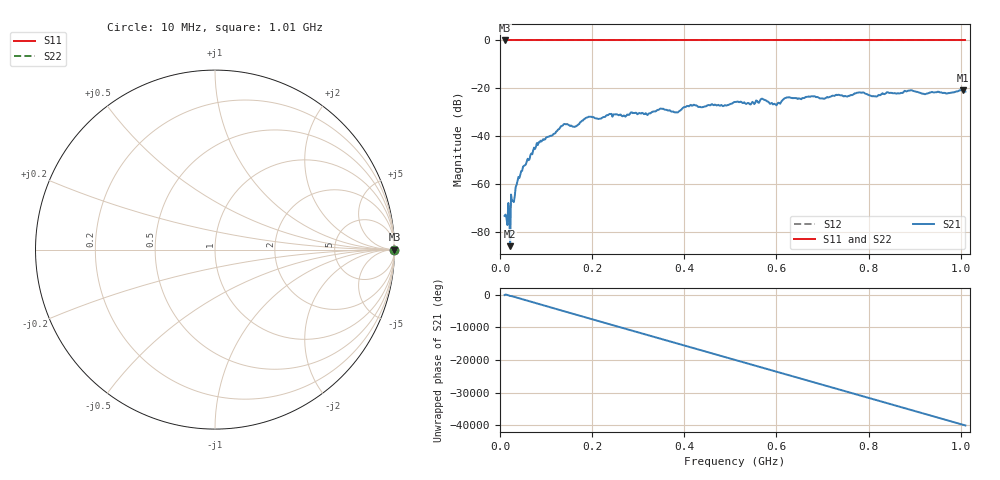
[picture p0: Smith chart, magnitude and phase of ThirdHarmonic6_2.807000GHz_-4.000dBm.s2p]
! 8/17/2025 7:20:51 AM
! C:\ANRITSUVNA\TEMP\TEMP.S2P
! CHANNEL.1
! TR.MEASUREMENT
! RAW.DATA
! RF.CORRECTION.OFF
! AVERAGING.OFF
! IF.BANDWIDTH: 5KHZ
! SWEEPTYPE:  FREQ.SWEEP(Linear)
! Reference Plane Port Info
! PORT:  PORT1  PORT2
! DISTANCE:  0  m  0  m
! TIME:  0  s  0  s
! PHASE.OFFSET:  0  deg.  0  deg.
! LOSS:  0  dB  0  dB
! REF.LOSS:  0  dB  0  dB
! REF.FREQ:  0  Hz  0  Hz
! Power Info
! POWER:  -20  dBm  -20  dBm
! EFF.POWER:  -20  dBm  -20  dBm
! SOURCE.ATTEN:  0  dB  0  dB
! TEST.ATTEN:  0  dB  0  dB
# GHZ S RI R 50.0
! FREQ.GHZ  S11RE  S11IM  S21RE  S21IM  S12RE  S12IM  S22RE  S22IM
!; PortSelection: Port_12
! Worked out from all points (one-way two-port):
!   501 points, 10 MHz to 1.01 GHz, reference 50 ohm
!   highest |S21| = -20.78 dB at 1.004 GHz (marker M1); lowest = -86.0 dB at 22 MHz (marker M2)
!   lowest |S11| = 0.0 dB at 10 MHz (marker M3)
!   |S11| at or under -10 dB: nowhere
!   |S22| runs from 0.0 to 0.0 dB; largest |S21 - S12| = 1.1
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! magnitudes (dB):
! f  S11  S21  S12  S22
! 10 MHz  0.0  -73.4  0.0  0.0
! 18 MHz  0.0  -68.0  0.0  0.0
! 22 MHz  0.0  -86.0  0.0  0.0
! 26 MHz  0.0  -67.1  0.0  0.0
! 38 MHz  0.0  -58.8  0.0  0.0
! 48 MHz  0.0  -54.6  0.0  0.0
! 84 MHz  0.0  -42.6  0.0  0.0
! 136 MHz  0.0  -35.6  0.0  0.0
! 162 MHz  0.0  -36.2  0.0  0.0
! 178 MHz  0.0  -33.6  0.0  0.0
! 344 MHz  0.0  -29.0  0.0  0.0
! 382 MHz  0.0  -30.0  0.0  0.0
! 410 MHz  0.0  -27.6  0.0  0.0
! 510 MHz  0.0  -25.7  0.0  0.0
! 548 MHz  0.0  -25.7  0.0  0.0
! 570 MHz  0.0  -24.4  0.0  0.0
! 596 MHz  0.0  -26.5  0.0  0.0
! 622 MHz  0.0  -23.9  0.0  0.0
! 678 MHz  0.0  -23.4  0.0  0.0
! 844 MHz  0.0  -21.9  0.0  0.0
! 1.004 GHz  0.0  -20.8  0.0  0.0
! 1.01 GHz  0.0  -21.4  0.0  0.0
